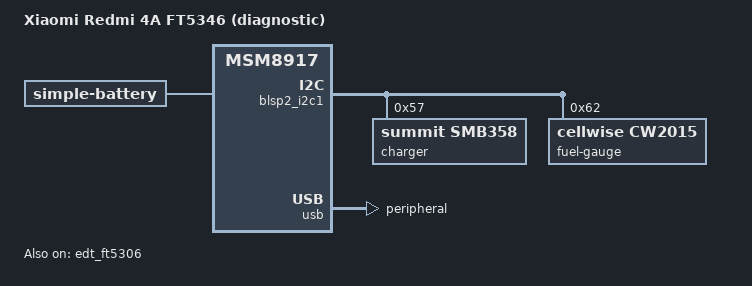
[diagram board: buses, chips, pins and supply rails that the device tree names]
// SPDX-License-Identifier: GPL-2.0-only
/* Diagnostic configuration for S88503AB1 / NT35521S EBBG / FT5346. */
#include "msm8917-xiaomi-rolex.dts"

/ {
	model = "Xiaomi Redmi 4A FT5346 (diagnostic)";

	battery: battery {
		compatible = "simple-battery";
		charge-full-design-microamp-hours = <3000000>;
	};
};

&edt_ft5306 {
	status = "okay";
};

&goodix_gt911 {
	status = "disabled";
};

&blsp2_i2c1 {
	status = "okay";

	charger: charger@57 {
		compatible = "summit,smb358";
		reg = <0x57>;
		monitored-battery = <&battery>;
		summit,enable-usb-charging;
		summit,preserve-boot-config;
	};

	fuel-gauge@62 {
		compatible = "cellwise,cw2015";
		reg = <0x62>;
		monitored-battery = <&battery>;
		power-supplies = <&charger>;
		cellwise,monitor-interval-ms = <5000>;
		cellwise,preserve-boot-config;
	};
};

&usb {
	dr_mode = "peripheral";
};

/* No remote processors or Android storage are needed for the first test. */
&modem {
	status = "disabled";
};

&adsp {
	status = "disabled";
};

&wcnss {
	status = "disabled";
};

&sound {
	status = "disabled";
};

&camss {
	status = "disabled";
};

&cci {
	status = "disabled";
};

/* GPIO 0 faults during registration on the installed MIUI 10 firmware.
 * Keep the unused BLSP SPI1 group out of GPIO discovery during diagnosis.
 * This does not establish that all four pins are firmware-protected.
 */
&tlmm {
	gpio-reserved-ranges = <0 4>;
};
